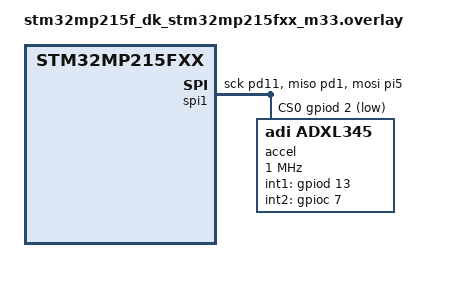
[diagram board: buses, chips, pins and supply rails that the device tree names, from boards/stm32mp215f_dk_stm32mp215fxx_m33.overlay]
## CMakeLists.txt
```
# SPDX-License-Identifier: Apache-2.0

cmake_minimum_required(VERSION 3.28.0)
# Load Zephyr's build system: board, device tree, Kconfig, toolchain.
find_package(Zephyr REQUIRED HINTS $ENV{ZEPHYR_BASE})
project(vibration-m33)

target_sources(app PRIVATE src/main.c)
```

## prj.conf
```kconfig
# GPIO driver: the LED, and the ADXL345's chip select (PD2).
CONFIG_GPIO=y
# SPI driver: SPI1 to the ADXL345.
CONFIG_SPI=y
```

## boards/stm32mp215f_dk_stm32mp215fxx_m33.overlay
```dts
/*
 * My additions to the STM32MP215F-DK device tree, for the M33.
 * Picked up automatically because the file name matches the board.
 */

&spi1 {
	/*
	 * Chip select as a plain GPIO on PD2 (CN12 pin 24), driven by Zephyr's SPI code, instead of
	 * the SPI block's hardware NSS: the ADXL345 needs CS low for the whole transfer. So NSS is
	 * left out of the pin list, which keeps only SCK (PD11), MISO (PD1), MOSI (PI5).
	 */
	pinctrl-0 = <&spi1_sck_pd11 &spi1_miso_pd1 &spi1_mosi_pi5>;
	cs-gpios = <&gpiod 2 GPIO_ACTIVE_LOW>;

	/* The ADXL345 on the first (only) chip select. */
	accel: adxl345@0 {
		compatible = "adi,adxl345";
		reg = <0>;
		/* Max 5 MHz (ADXL345 Rev. G, p. 14); 1 MHz is slow and safe on jumper wires. */
		spi-max-frequency = <1000000>;
		/*
		 * Its two interrupt outputs: INT1 on PD13 (CN12 pin 22), INT2 on PC7 (CN12 pin 26).
		 * Active high by default (ADXL345 Rev. G, p. 19).
		 */
		int1-gpios = <&gpiod 13 GPIO_ACTIVE_HIGH>;
		int2-gpios = <&gpioc 7 GPIO_ACTIVE_HIGH>;
	};
};
```

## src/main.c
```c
/*
 * M33 firmware of the vibration node.
 * Wire test: check that the ADXL345's ID reads over SPI1, then that its INT1 and INT2 pins
 * interrupt the M33. Show the result on LD3.
 */

#include <zephyr/kernel.h>
#include <zephyr/sys/atomic.h>
#include <zephyr/drivers/gpio.h>
#include <zephyr/drivers/spi.h>

/* LD3, through the board's led0 alias: no pin number in the code. */
static const struct gpio_dt_spec led = GPIO_DT_SPEC_GET(DT_ALIAS(led0), gpios);

/*
 * The ADXL345 node from my overlay: SPI1, its chip select, its clock limit.
 * SPI mode 3 (CPOL = 1, CPHA = 1), 8-bit words, MSB first (ADXL345 Rev. G, p. 14).
 */
static const struct spi_dt_spec accel = SPI_DT_SPEC_GET(DT_NODELABEL(accel),
		SPI_OP_MODE_CONTROLLER | SPI_WORD_SET(8) | SPI_TRANSFER_MSB |
		SPI_MODE_CPOL | SPI_MODE_CPHA);

/* Its interrupt pins, from the same node: INT1 = PD13, INT2 = PC7. */
static const struct gpio_dt_spec int1 = GPIO_DT_SPEC_GET(DT_NODELABEL(accel), int1_gpios);
static const struct gpio_dt_spec int2 = GPIO_DT_SPEC_GET(DT_NODELABEL(accel), int2_gpios);

/* ADXL345 registers and values (ADXL345 Rev. G) */
#define ADXL345_REG_DEVID       0x00
#define ADXL345_REG_BW_RATE     0x2C   /* output data rate (p. 25) */
#define ADXL345_REG_POWER_CTL   0x2D   /* bit 3 = Measure (p. 26) */
#define ADXL345_REG_INT_ENABLE  0x2E   /* bit 7 = DATA_READY (p. 26) */
#define ADXL345_REG_INT_MAP     0x2F   /* bit = 0: to INT1, 1: to INT2 (p. 27) */
#define ADXL345_REG_DATAX0      0x32   /* 0x32 to 0x37: X, Y, Z, 2 bytes each (p. 27) */

#define ADXL345_DEVID           0xE5   /* fixed value (p. 24) */
#define ADXL345_RATE_100HZ      0x0A   /* rate code 1010 (Table 7, p. 13) */
#define ADXL345_MEASURE         0x08
#define ADXL345_DATA_READY      0x80

#define ADXL345_READ            0x80   /* first byte, bit 7 = 1: read (p. 14) */
#define ADXL345_MULTI           0x40   /* first byte, bit 6 = 1: several registers in a row */

#define TEST_TIME_MS            2000   /* how long each pin is watched */

/* Interrupt counters, one per pin. Changed in the interrupt handlers, so atomic. */
static atomic_t int1_count;
static atomic_t int2_count;

/* Given by the interrupt handlers, taken by main(): "new data is ready" */
static K_SEM_DEFINE(data_ready, 0, 1);

static struct gpio_callback int1_cb;
static struct gpio_callback int2_cb;

/* Wrap one array as the buffer set the SPI API wants. */
#define ONE_BUF(name, array) \
	const struct spi_buf name##_buf = { .buf = (array), .len = sizeof(array) }; \
	const struct spi_buf_set name = { .buffers = &name##_buf, .count = 1 }

/* Read one register: send [read | address, dummy], the second received byte is the value. */
static int adxl345_read_reg(uint8_t reg, uint8_t *value)
{
	uint8_t tx[2] = { ADXL345_READ | reg, 0x00 };
	uint8_t rx[2] = { 0 };
	ONE_BUF(tx_set, tx);
	ONE_BUF(rx_set, rx);

	int ret = spi_transceive_dt(&accel, &tx_set, &rx_set);

	*value = rx[1];
	return ret;
}

/* Write one register: send [address (bit 7 = 0: write), value]. Nothing to receive. */
static int adxl345_write_reg(uint8_t reg, uint8_t value)
{
	uint8_t tx[2] = { reg, value };
	ONE_BUF(tx_set, tx);

	return spi_write_dt(&accel, &tx_set);
}

/*
 * Read the 6 data registers in one transfer. The values are thrown away: reading them is what
 * clears DATA_READY, so the pin goes low and the next measurement gives a new rising edge (p. 19).
 */
static int adxl345_read_data(void)
{
	uint8_t tx[7] = { ADXL345_READ | ADXL345_MULTI | ADXL345_REG_DATAX0 };
	uint8_t rx[7];
	ONE_BUF(tx_set, tx);
	ONE_BUF(rx_set, rx);

	return spi_transceive_dt(&accel, &tx_set, &rx_set);
}

/*
 * The interrupt handlers. They run in interrupt context, so they must be short and must never
 * wait: they only count and signal. The SPI read happens in main(), a thread.
 */
static void int1_handler(const struct device *port, struct gpio_callback *cb, uint32_t pins)
{
	atomic_inc(&int1_count);
	k_sem_give(&data_ready);
}

static void int2_handler(const struct device *port, struct gpio_callback *cb, uint32_t pins)
{
	atomic_inc(&int2_count);
	k_sem_give(&data_ready);
}

/* Set one pin as an input that interrupts on its rising edge. */
static int setup_int_pin(const struct gpio_dt_spec *pin, struct gpio_callback *cb,
			 gpio_callback_handler_t handler)
{
	if (!gpio_is_ready_dt(pin)) {
		return -ENODEV;
	}
	if (gpio_pin_configure_dt(pin, GPIO_INPUT) != 0) {
		return -EIO;
	}
	gpio_init_callback(cb, handler, BIT(pin->pin));
	if (gpio_add_callback_dt(pin, cb) != 0) {
		return -EIO;
	}
	return gpio_pin_interrupt_configure_dt(pin, GPIO_INT_EDGE_TO_ACTIVE);
}

/*
 * Send DATA_READY to one pin (int_map = 0x00: INT1, 0x80: INT2) and serve it for TEST_TIME_MS.
 * The datasheet asks to disable an interrupt before changing its mapping (p. 19).
 */
static void run_phase(uint8_t int_map)
{
	adxl345_write_reg(ADXL345_REG_INT_ENABLE, 0x00);
	adxl345_write_reg(ADXL345_REG_INT_MAP, int_map);
	adxl345_write_reg(ADXL345_REG_INT_ENABLE, ADXL345_DATA_READY);

	int64_t end = k_uptime_get() + TEST_TIME_MS;

	while (k_uptime_get() < end) {
		/*
		 * Wait for an interrupt, at most 100 ms. Read the data either way: if a measurement
		 * was already waiting before the pin was watched, its edge was missed and the pin
		 * would stay high forever. Reading clears it.
		 */
		k_sem_take(&data_ready, K_MSEC(100));
		adxl345_read_data();
	}
}

/* Blink n short flashes, then a pause. */
static void flashes(int n)
{
	for (int i = 0; i < n; i++) {
		gpio_pin_set_dt(&led, 1);
		k_msleep(100);
		gpio_pin_set_dt(&led, 0);
		k_msleep(200);
	}
	k_msleep(1000);
}

int main(void)
{
	uint8_t devid = 0;
	int result;

	if (!gpio_is_ready_dt(&led)) {
		return 0;
	}
	gpio_pin_configure_dt(&led, GPIO_OUTPUT_INACTIVE);

	/*
	 * The result, shown on LD3:
	 *   LED on, steady : setup failed (SPI1, the ID, or the interrupt pins)
	 *   1 flash        : INT1 gave no interrupts
	 *   2 flashes      : INT2 gave no interrupts
	 *   3 flashes      : neither gave any
	 *   4 flashes      : both pins interrupt the M33
	 */
	if (!spi_is_ready_dt(&accel) ||
	    adxl345_read_reg(ADXL345_REG_DEVID, &devid) != 0 || devid != ADXL345_DEVID ||
	    setup_int_pin(&int1, &int1_cb, int1_handler) != 0 ||
	    setup_int_pin(&int2, &int2_cb, int2_handler) != 0) {
		gpio_pin_set_dt(&led, 1);
		return 0;
	}

	/* Sensor setup: standby while configuring, 100 measurements per second, then measure. */
	adxl345_write_reg(ADXL345_REG_POWER_CTL, 0x00);
	adxl345_write_reg(ADXL345_REG_BW_RATE, ADXL345_RATE_100HZ);
	adxl345_write_reg(ADXL345_REG_POWER_CTL, ADXL345_MEASURE);

	/* Phase 1: DATA_READY on INT1. Phase 2: DATA_READY on INT2. */
	run_phase(0x00);
	atomic_val_t on_int1 = atomic_get(&int1_count);

	run_phase(ADXL345_DATA_READY);
	atomic_val_t on_int2 = atomic_get(&int2_count);

	adxl345_write_reg(ADXL345_REG_INT_ENABLE, 0x00);

	if (on_int1 > 0 && on_int2 > 0) {
		result = 4;
	} else if (on_int1 == 0 && on_int2 == 0) {
		result = 3;
	} else if (on_int2 == 0) {
		result = 2;
	} else {
		result = 1;
	}

	while (1) {
		flashes(result);
	}
	return 0;
}
```
